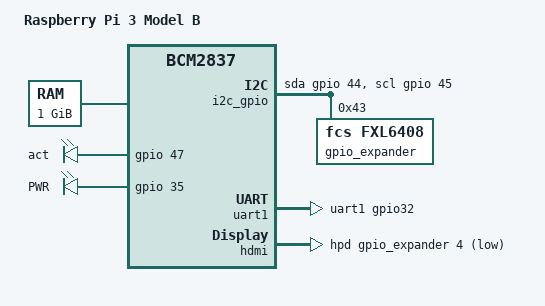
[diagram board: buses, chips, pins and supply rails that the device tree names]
 /dts-v1/;
#include "bcm2837.dtsi"
#include "bcm2835-rpi.dtsi"

/ {
	compatible = "raspberrypi,3-model-b", "brcm,bcm2837";
	model = "Raspberry Pi 3 Model B";

	memory {
		reg = <0 0x40000000>;
	};

	leds {
		act {
			gpios = <&gpio 47 0>;
		};

		pwr {
			label = "PWR";
			gpios = <&gpio 35 0>;
			default-state = "keep";
			linux,default-trigger = "default-on";
		};
	};

	i2c_gpio {
		compatible = "i2c-gpio";
		#address-cells = <1>;
		#size-cells = <0>;

		gpios = <&gpio 44 0
			 &gpio 45 0>;

		gpio_expander: gpio@43 {
			gpio-controller;
			#gpio-cells = <2>;
			reg = <0x43>;
			compatible = "fcs,fxl6408";
		};
	};
};

&uart1 {
	pinctrl-names = "default";
	pinctrl-0 = <&uart1_gpio32>;
	status = "okay";
};

&hdmi {
	hpd-gpios = <&gpio_expander 4 GPIO_ACTIVE_LOW>;
};
